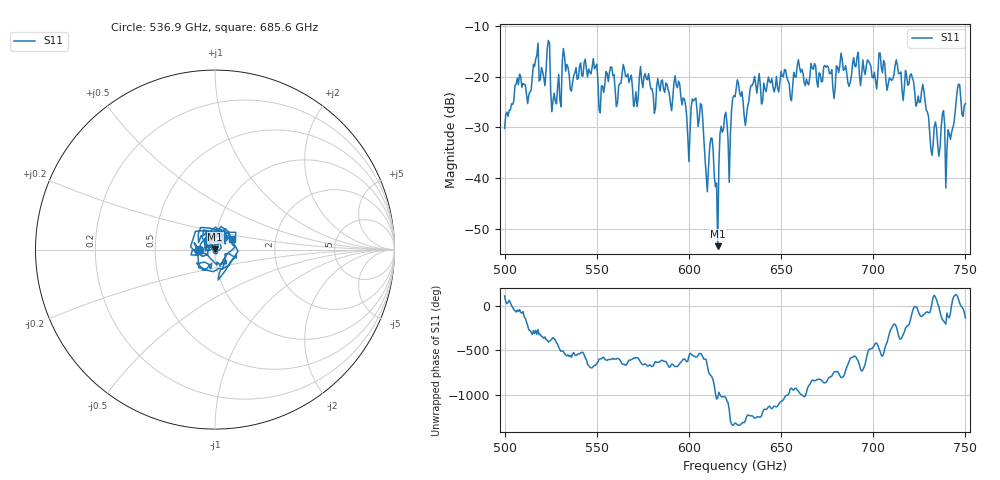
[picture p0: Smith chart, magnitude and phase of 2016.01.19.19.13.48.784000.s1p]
!Created with skrf (http://scikit-rf.org).
# GHz S RI R 50.0
!freq ReS11 ImS11
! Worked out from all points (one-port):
!   401 points, 500 GHz to 750 GHz, reference 50 ohm
!   lowest |S11| = -53.5 dB at 615.6 GHz (marker M1), VSWR 1.00, Z = 50.1 + j0.155 ohm
!   |S11| at or under -10 dB: start of sweep to end of sweep
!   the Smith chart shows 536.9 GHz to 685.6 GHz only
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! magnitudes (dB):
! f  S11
! 500 GHz  -30.2
! 507.5 GHz  -21.6
! 513.1 GHz  -23.6
! 516.9 GHz  -16.5
! 523.8 GHz  -12.9
! 526.9 GHz  -23.3
! 531.2 GHz  -17.3
! 562.5 GHz  -21.4
! 593.8 GHz  -22.2
! 599.4 GHz  -31.7
! 602.5 GHz  -24.8
! 606.9 GHz  -25.5
! 609.4 GHz  -39.5
! 611.9 GHz  -32.2
! 615.6 GHz  -53.5
! 618.1 GHz  -31.0
! 621.9 GHz  -40.9
! 625 GHz  -24.0
! 631.2 GHz  -27.7
! 635 GHz  -21.1
! 656.2 GHz  -22.1
! 687.5 GHz  -21.1
! 718.8 GHz  -21.7
! 727.5 GHz  -22.8
! 731.9 GHz  -35.6
! 740.6 GHz  -30.5
! 746.2 GHz  -21.5
! 750 GHz  -25.3
